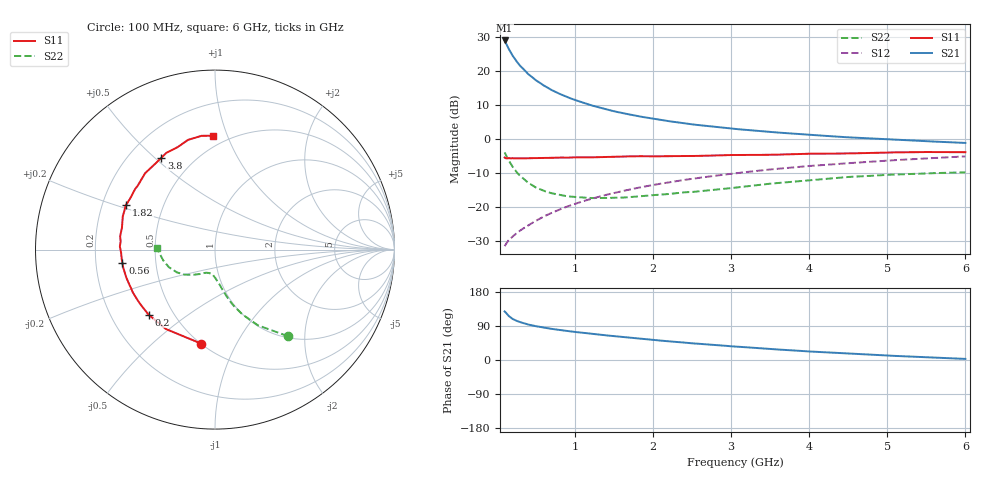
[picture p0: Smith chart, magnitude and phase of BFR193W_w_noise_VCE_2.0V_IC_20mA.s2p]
! Infineon Technologies  Discrete & RF Semiconductors
! BFR193W
! VCE =  2.0 V,  IC =  20 mA
! Common Emitter S-Parameters:  Nov 2015
# GHz  S  MA  R  50
!  f  S11  S21  S12  S22
! GHz  MAG  ANG  MAG  ANG  MAG  ANG  MAG  ANG
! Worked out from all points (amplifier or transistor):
!   192 points, 100 MHz to 6 GHz, reference 50 ohm
!   highest |S21| = 28.9 dB at 100 MHz (marker M1)
!   |S21| within 3 dB of that: start of sweep to 166.3 MHz
!   unconditionally stable (mu >= 1): 705.2 MHz to 2.57 GHz
!   at 440 MHz: K = 0.89, MSG = 21.6 dB, |S12| = -24.9 dB
!   at 1.7 GHz: K = 1.03, MAG = 10.0 dB, |S12| = -14.9 dB
!   at 6 GHz: K = 0.92, MSG = 2.0 dB, |S12| = -5.2 dB
!   lowest NFmin = 1.40 dB at 450 MHz
!   S11 on the Smith chart (normalised r, x): 100 MHz: 0.50, -0.73; 200 MHz: 0.36, -0.36; 560 MHz: 0.32, -0.06; 1.82 GHz: 0.30, +0.22; 3.8 GHz: 0.33, +0.53; 6 GHz: 0.42, +0.89
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0.1  0.5294 -98.4  27.71 128.1  0.0265 57.1  0.6306 -49.9
0.15  0.5202 -121.7  21.06 116.3  0.0323 54.4  0.4844 -60.5
0.2  0.5181 -135.6  16.75 108.6  0.0366 54.2  0.3918 -67.1
0.24  0.5152 -143.1  14.37 104.7  0.0399 55.1  0.3389 -70.9
0.26  0.5153 -146.4  13.37 102.8  0.0416 55.7  0.3175 -72.5
0.3  0.5162 -152.2  11.71 99.5  0.0451 57.0  0.284 -74.9
0.4  0.5181 -162.2  8.932 93.6  0.0532 60.0  0.2262 -79.6
0.5  0.5211 -168.8  7.222 89.2  0.0624 62.6  0.1923 -83.0
0.56  0.5213 -172.0  6.521 87.1  0.0682 63.6  0.18 -85.1
0.6  0.5223 -174.1  6.06 85.5  0.072 64.1  0.172 -86.6
0.7  0.5236 -178.3  5.2 82.2  0.0814 65.3  0.1587 -89.1
0.8  0.5304 178.1  4.581 79.3  0.0909 66.3  0.1503 -91.9
0.9  0.5278 174.9  4.082 76.6  0.101 66.8  0.1431 -93.9
1.1  0.5327 169.4  3.407 71.9  0.1205 67.1  0.1371 -98.7
1.4  0.5422 161.9  2.697 65.0  0.15 66.7  0.135 -105.6
1.82  0.5544 153.5  2.132 56.5  0.1916 65.1  0.1426 -114.1
2.08  0.5523 148.2  1.903 51.6  0.2171 63.7  0.1509 -118.1
3.1  0.5771 131.1  1.377 34.9  0.3154 56.3  0.1942 -133.6
3.8  0.5929 120.2  1.187 25.2  0.3802 50.2  0.235 -145.7
4.1  0.6034 115.4  1.123 21.5  0.4057 47.7  0.2516 -151.1
5.1  0.6306 102.4  0.972 10.8  0.4852 39.0  0.2977 -170.1
6  0.6348 90.9  0.868 2.9  0.5509 31.1  0.322 178.2
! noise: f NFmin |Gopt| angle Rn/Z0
0.45  1.4  0.3  160  0.1
0.9  1.45  0.34  172  0.11
1.8  2.2  0.56  -148  0.2
